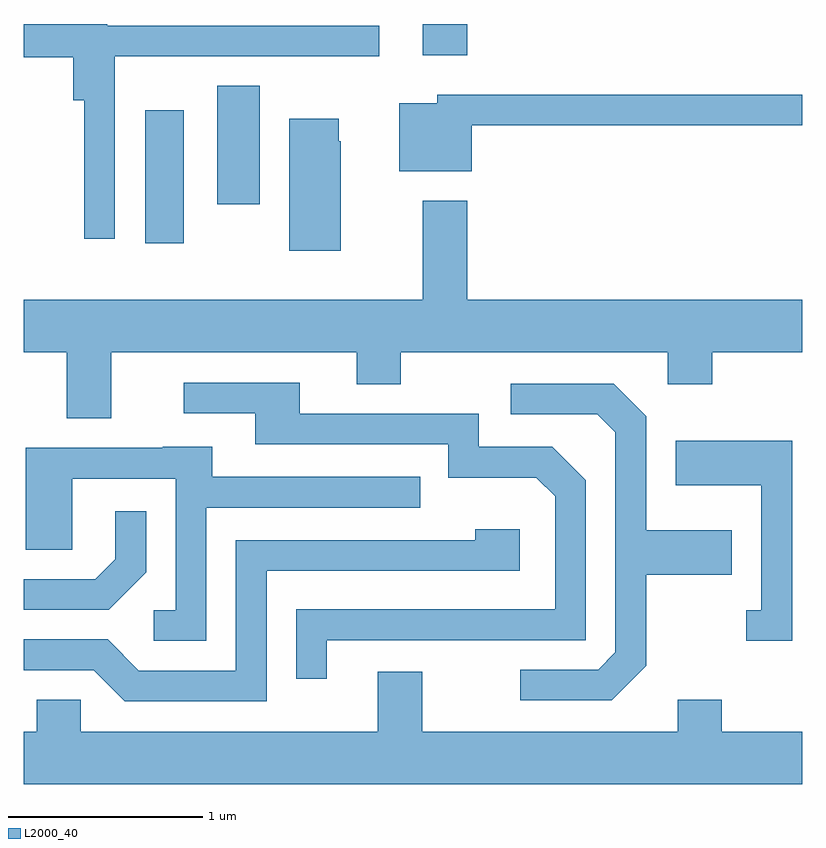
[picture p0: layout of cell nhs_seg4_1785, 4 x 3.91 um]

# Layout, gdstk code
import gdstk
lib = gdstk.Library(unit=1e-6, precision=1e-09)
def R(c, l, rs):  # rectangles x0, y0, x1, y1
    for r in rs: c.add(gdstk.rectangle(r[:2], r[2:], *l))
def P(c, l, *ps):  # polygons
    for p in ps: c.add(gdstk.Polygon(p, *l))
L2000_40 = (2000, 40)

nhs_seg4_1785 = lib.new_cell('nhs_seg4_1785')
R(nhs_seg4_1785, L2000_40, [(238.236,1290.856,238.434,1291.539), (238.606,1291.056,238.824,1291.664), (239.661,1291.821,239.889,1291.982)])
P(nhs_seg4_1785, L2000_40, [(238.079,1291.816),(239.438,1291.816),(239.438,1291.974),(238.04,1291.974),(238.04,1291.982),(237.611,1291.982),(237.611,1291.811),(237.866,1291.811),(237.866,1291.591),(237.921,1291.591),(237.921,1290.878),(238.079,1290.878)],
  [(239.914,1291.461),(241.611,1291.461),(241.611,1291.619),(239.736,1291.619),(239.736,1291.574),(239.541,1291.574),(239.541,1291.226),(239.914,1291.226)],
  [(239.239,1291.38),(239.229,1291.38),(239.229,1291.494),(238.976,1291.494),(238.976,1290.816),(239.239,1290.816)],
  [(238.059,1290.296),(239.321,1290.296),(239.321,1290.131),(239.549,1290.131),(239.549,1290.296),(240.921,1290.296),(240.921,1290.131),(241.149,1290.131),(241.149,1290.296),(241.611,1290.296),(241.611,1290.564),(239.889,1290.564),(239.889,1291.074),(239.661,1291.074),(239.661,1290.564),(237.611,1290.564),(237.611,1290.296),(237.831,1290.296),(237.831,1289.956),(238.059,1289.956)],
  [(239.169,1288.816),(240.499,1288.816),(240.499,1289.637),(240.327,1289.809),(239.949,1289.809),(239.949,1289.979),(239.029,1289.979),(239.029,1290.139),(238.433,1290.139),(238.433,1289.981),(238.801,1289.981),(238.801,1289.821),(239.791,1289.821),(239.791,1289.651),(240.244,1289.651),(240.341,1289.554),(240.341,1288.974),(239.011,1288.974),(239.011,1288.618),(239.169,1288.618)],
  [(240.809,1288.684),(240.809,1289.151),(241.249,1289.151),(241.249,1289.379),(240.809,1289.379),(240.809,1289.967),(240.642,1290.134),(240.113,1290.134),(240.113,1289.976),(240.559,1289.976),(240.651,1289.884),(240.651,1288.752),(240.564,1288.664),(240.163,1288.664),(240.163,1288.506),(240.632,1288.506)],
  [(241.559,1289.839),(240.961,1289.839),(240.961,1289.611),(241.401,1289.611),(241.401,1288.969),(241.323,1288.969),(241.323,1288.811),(241.559,1288.811)],
  [(238.549,1289.496),(239.648,1289.496),(239.648,1289.654),(238.579,1289.654),(238.579,1289.809),(238.325,1289.809),(238.325,1289.804),(237.621,1289.804),(237.621,1289.281),(237.859,1289.281),(237.859,1289.646),(238.391,1289.646),(238.391,1288.969),(238.278,1288.969),(238.278,1288.811),(238.549,1288.811)],
  [(238.239,1289.164),(238.239,1289.478),(238.081,1289.478),(238.081,1289.232),(237.979,1289.129),(237.611,1289.129),(237.611,1288.971),(238.047,1288.971)],
  [(238.859,1289.171),(240.159,1289.171),(240.159,1289.384),(239.931,1289.384),(239.931,1289.329),(238.701,1289.329),(238.701,1288.659),(238.202,1288.659),(238.042,1288.819),(237.611,1288.819),(237.611,1288.661),(237.969,1288.661),(238.129,1288.501),(238.859,1288.501)],
  [(241.611,1288.344),(241.199,1288.344),(241.199,1288.509),(240.971,1288.509),(240.971,1288.344),(239.659,1288.344),(239.659,1288.654),(239.431,1288.654),(239.431,1288.344),(237.904,1288.344),(237.904,1288.509),(237.676,1288.509),(237.676,1288.344),(237.611,1288.344),(237.611,1288.076),(241.611,1288.076)])

lib.write_gds('nhs_seg4_1785.gds')
